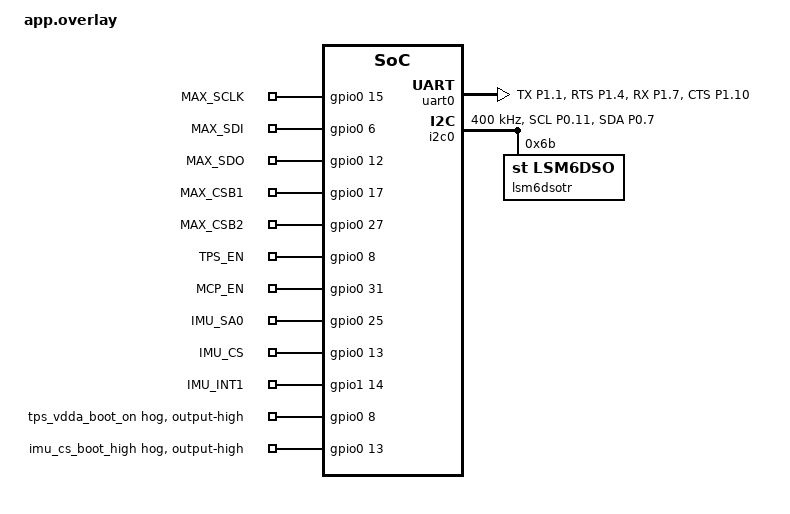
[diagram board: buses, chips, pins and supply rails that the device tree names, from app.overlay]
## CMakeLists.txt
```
#
# Copyright (c) 2018 Nordic Semiconductor
#
# SPDX-License-Identifier: LicenseRef-Nordic-5-Clause
#
cmake_minimum_required(VERSION 3.20.0)

find_package(Zephyr REQUIRED HINTS $ENV{ZEPHYR_BASE})
project(peripheral_uart_test)

# NORDIC SDK APP START
target_sources(app PRIVATE
  src/main.c
  src/lsmd.c
  src/max86140_spi.c
)

# NORDIC SDK APP END
```

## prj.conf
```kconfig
#
# Copyright (c) 2018 Nordic Semiconductor
#
# SPDX-License-Identifier: LicenseRef-Nordic-5-Clause
#

# Enable the UART driver
CONFIG_UART_ASYNC_API=y
CONFIG_SERIAL=y

CONFIG_GPIO=y

# Make sure printk is printing to the UART console
CONFIG_CONSOLE=y
CONFIG_UART_CONSOLE=y

CONFIG_HEAP_MEM_POOL_SIZE=2048

CONFIG_BT=y
CONFIG_BT_PERIPHERAL=y
CONFIG_BT_DEVICE_NAME="PPG_DK_2026A"
CONFIG_BT_MAX_CONN=1
CONFIG_BT_MAX_PAIRED=1

# Enable the NUS service
CONFIG_BT_NUS=y

# BT settings disabled — random BT address each boot, no NVS hang
CONFIG_BT_SETTINGS=n
CONFIG_SETTINGS=n
CONFIG_NVS=n
CONFIG_FLASH=y
CONFIG_FLASH_PAGE_LAYOUT=y
CONFIG_FLASH_MAP=y

# Enable DK LED and Buttons library
CONFIG_DK_LIBRARY=y

CONFIG_SYSTEM_WORKQUEUE_STACK_SIZE=2048

# Config logger — immediate mode so RTT output is never lost on crash
CONFIG_LOG=y
CONFIG_USE_SEGGER_RTT=y
CONFIG_LOG_BACKEND_RTT=y
CONFIG_LOG_BACKEND_UART=n
CONFIG_LOG_PRINTK=n
CONFIG_LOG_MODE_IMMEDIATE=y
CONFIG_SEGGER_RTT_BUFFER_SIZE_UP=8192

CONFIG_ASSERT=y
CONFIG_FAULT_DUMP=2
# Halt on fatal error instead of resetting — lets RTT capture the fault dump.
# Without this, crashes cause instant reboot and RTT output is lost.
CONFIG_RESET_ON_FATAL_ERROR=n

# Proto2403 has no external QSPI NOR flash.  nRF52840DK defconfig enables it
# by default; on Proto2403 the QSPI pins (P0.17-P0.22) are wired to MAX86141
# SPI — the QSPI driver crashes the firmware before main() runs.
CONFIG_NORDIC_QSPI_NOR=n

# Use internal RC oscillator for LFCLK — avoids MPSL hang if LFXO takes
# too long to stabilize on cold boot.
#CONFIG_CLOCK_CONTROL_NRF_K32SRC_RC=y

# The ISP1807 has an integrated 32.768 kHz crystal. The internal RC is only
# ±250 ppm, and BLE allows ±500 ppm total across both ends — marginal, and it
# varies chip to chip. Suspected cause of boards that advertise but won't hold
# a connection.
# Previously: CONFIG_CLOCK_CONTROL_NRF_K32SRC_RC=y
CONFIG_CLOCK_CONTROL_NRF_K32SRC_XTAL=y

# ── LSM6DSOTR IMU (I2C) ───────────────────────────────────────────────────────
CONFIG_I2C=y
CONFIG_SENSOR=y
CONFIG_LSM6DSO=y
CONFIG_LSM6DSO_TRIGGER_NONE=y           # polling mode — drdy-gpios not wired on Proto2403
# ODR and FS set at runtime via sensor_attr_set() if needed
# Default after reset: ODR=104Hz, FS=±2g — both fine for motion artefact detection
```

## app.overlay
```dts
/*
 * Copyright (c) 2022 Nordic Semiconductor ASA
 *
 * SPDX-License-Identifier: LicenseRef-Nordic-5-Clause
 *
 * Proto2403 custom PCB overlay
 *
 * Current build target:
 *     nrf21540dk/nrf52840
 *
 * This overlay overrides the DK pin assignments with the actual
 * connections used on the Proto2403 PCB.
 */

#include <dt-bindings/pinctrl/nrf-pinctrl.h>


/* =========================================================================
 * PIN CONTROL
 * =========================================================================
 */

&pinctrl {

	/* ---------------------------------------------------------------------
	 * LSM6DSOTR I2C0
	 *
	 * Proto2403 schematic:
	 *
	 *   IMU1_SCL -> P0.11
	 *   IMU1_SDA -> P0.07
	 *
	 * ---------------------------------------------------------------------
	 */

	i2c0_default_alt: i2c0_default_alt {
		group1 {
			psels = <NRF_PSEL(TWIM_SCL, 0, 11)>,
				<NRF_PSEL(TWIM_SDA, 0, 7)>;

			bias-pull-up;
		};
	};

	i2c0_sleep_alt: i2c0_sleep_alt {
		group1 {
			psels = <NRF_PSEL(TWIM_SCL, 0, 11)>,
				<NRF_PSEL(TWIM_SDA, 0, 7)>;

			low-power-enable;
		};
	};


	/* ---------------------------------------------------------------------
	 * UART0 remapping
	 *
	 * Proto2403 communicates with the host using BLE NUS rather than a
	 * physical UART.
	 *
	 * The DK's default UART pins overlap pins used by Proto2403 hardware,
	 * so move UART0 onto otherwise-unused P1 pins.
	 *
	 * ---------------------------------------------------------------------
	 */

	uart0_default_alt: uart0_default_alt {
		group1 {
			psels = <NRF_PSEL(UART_TX,  1, 1)>,
				<NRF_PSEL(UART_RTS, 1, 4)>;
		};

		group2 {
			psels = <NRF_PSEL(UART_RX,  1, 7)>,
				<NRF_PSEL(UART_CTS, 1, 10)>;

			bias-pull-up;
		};
	};

	uart0_sleep_alt: uart0_sleep_alt {
		group1 {
			psels = <NRF_PSEL(UART_TX,  1, 1)>,
				<NRF_PSEL(UART_RTS, 1, 4)>;

			low-power-enable;
		};

		group2 {
			psels = <NRF_PSEL(UART_RX,  1, 7)>,
				<NRF_PSEL(UART_CTS, 1, 10)>;

			low-power-enable;
		};
	};
};


/* =========================================================================
 * UART0
 * =========================================================================
 */

&uart0 {
	pinctrl-0 = <&uart0_default_alt>;
	pinctrl-1 = <&uart0_sleep_alt>;
	pinctrl-names = "default", "sleep";
};


/* =========================================================================
 * GPIO0
 *
 * Remove DK-specific GPIO reservations that do not apply to Proto2403.
 *
 * Keep only P0.00-P0.01 reserved.
 *
 * Also use GPIO hogs to establish the IMU's required electrical state
 * before the Zephyr sensor driver attempts to probe it.
 * =========================================================================
 */

&gpio0 {

	gpio-reserved-ranges = <0 2>;


	/* ---------------------------------------------------------------------
	 * TPS7A0518 / VDDA enable
	 *
	 * Proto2403:
	 *
	 *   P0.08 -> TPS_EN
	 *            |
	 *            v
	 *        TPS7A0518
	 *            |
	 *            v
	 *           VDDA
	 *
	 * The LSM6DSOTR VDD/VDDIO are supplied from VDDA.
	 *
	 * This must be HIGH before the LSM6DSO Zephyr driver initializes.
	 * ---------------------------------------------------------------------
	 */

	tps_vdda_boot_hog {
		gpio-hog;
		gpios = <8 GPIO_ACTIVE_HIGH>;
		output-high;
		line-name = "tps_vdda_boot_on";
	};


	/* ---------------------------------------------------------------------
	 * LSM6DSOTR SDO/SA0
	 *
	 * Proto2403:
	 *
	 *   P0.25 -> IMU1_SDO -> LSM6DSOTR SDO/SA0
	 *
	 * SA0 LOW  -> I2C address 0x6A
	 * SA0 HIGH -> I2C address 0x6B
	 *
	 * Drive LOW before the sensor driver probes the device.
	 * ---------------------------------------------------------------------
	 */

	/* ---------------------------------------------------------------------
	 * LSM6DSOTR CS
	 *
	 * Proto2403:
	 *
	 *   P0.13 -> IMU1_CS -> LSM6DSOTR CS
	 *
	 * CS must be HIGH for I2C operation.
	 * ---------------------------------------------------------------------
	 */

	imu_cs_boot_hog {
		gpio-hog;
		gpios = <13 GPIO_ACTIVE_HIGH>;
		output-high;
		line-name = "imu_cs_boot_high";
	};
};


/* =========================================================================
 * I2C0 + LSM6DSOTR
 * =========================================================================
 */

&i2c0 {
	compatible = "nordic,nrf-twim";
	status = "okay";

	pinctrl-0 = <&i2c0_default_alt>;
	pinctrl-1 = <&i2c0_sleep_alt>;
	pinctrl-names = "default", "sleep";

	clock-frequency = <I2C_BITRATE_FAST>;


	lsm6dsotr: lsm6dsotr@6b {
        compatible = "st,lsm6dso";
        reg = <0x6b>;

        /*
        * Do not initialize the IMU during Zephyr boot.
        * Proto2403 powers VDDA later from main().
        */
        zephyr,deferred-init;
    };
};


/* =========================================================================
 * APPLICATION GPIO NODES
 *
 * Existing C code uses patterns such as:
 *
 *     GPIO_DT_SPEC_GET(DT_NODELABEL(max_sclk), gpios)
 *     GPIO_DT_SPEC_GET(DT_NODELABEL(tps_en), gpios)
 *     GPIO_DT_SPEC_GET(DT_NODELABEL(imu_sa0), gpios)
 *
 * Therefore these nodes need a binding that defines the "gpios" property.
 * Keeping the gpio-keys container allows the existing code to work.
 * =========================================================================
 */

/ {

	chosen {
		nordic,nus-uart = &uart0;
	};


	proto2403_pins {
		compatible = "gpio-keys";


		/* =============================================================
		 * MAX86141 software SPI
		 * =============================================================
		 */

		max_sclk: max_sclk {
			/*
			 * P0.15 -> MAX_SCLK
			 */
			gpios = <&gpio0 15 GPIO_ACTIVE_HIGH>;
			label = "MAX_SCLK";
		};

		max_sdi: max_sdi {
			/*
			 * P0.06 -> MAX_SDI / MOSI
			 */
			gpios = <&gpio0 6 GPIO_ACTIVE_HIGH>;
			label = "MAX_SDI";
		};

		max_sdo: max_sdo {
			/*
			 * P0.12 -> MAX_SDO / MISO
			 */
			gpios = <&gpio0 12 GPIO_ACTIVE_HIGH>;
			label = "MAX_SDO";
		};


		/* =============================================================
		 * MAX86141 chip selects
		 * =============================================================
		 */

		max_csb1: max_csb1 {
			/*
			 * P0.17 -> MAX_CSB1
			 */
			gpios = <&gpio0 17 GPIO_ACTIVE_HIGH>;
			label = "MAX_CSB1";
		};

		max_csb2: max_csb2 {
			/*
			 * P0.27 -> MAX_CSB2
			 */
			gpios = <&gpio0 27 GPIO_ACTIVE_HIGH>;
			label = "MAX_CSB2";
		};


		/* =============================================================
		 * POWER CONTROL
		 * =============================================================
		 */

		tps_en: tps_en {
			/*
			 * P0.08 -> TPS7A0518 EN
			 *
			 * Enables VDDA.
			 */
			gpios = <&gpio0 8 GPIO_ACTIVE_HIGH>;
			label = "TPS_EN";
		};

		mcp_en: mcp_en {
			/*
			 * P0.31 -> MCP16411 EN
			 *
			 * Controls VLED boost supply.
			 */
			gpios = <&gpio0 31 GPIO_ACTIVE_HIGH>;
			label = "MCP_EN";
		};


		/* =============================================================
		 * LSM6DSOTR CONTROL SIGNALS
		 * =============================================================
		 */

		imu_sa0: imu_sa0 {
			/*
			 * P0.25 -> IMU1_SDO -> SDO/SA0
			 *
			 * LOW = I2C address 0x6A
			 */
			gpios = <&gpio0 25 GPIO_ACTIVE_HIGH>;
			label = "IMU_SA0";
		};

		imu_cs: imu_cs {
			/*
			 * P0.13 -> IMU1_CS
			 *
			 * HIGH = I2C mode
			 */
			gpios = <&gpio0 13 GPIO_ACTIVE_HIGH>;
			label = "IMU_CS";
		};

		imu_int1: imu_int1 {
			/*
			 * P1.14 <- LSM6DSOTR INT1
			 *
			 * Not currently used.
			 *
			 * Reserved for future interrupt-based wake-up
			 * or data-ready handling.
			 */
			gpios = <&gpio1 14 GPIO_ACTIVE_HIGH>;
			label = "IMU_INT1";
		};
	};
};
```

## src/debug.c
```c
#include <zephyr/drivers/i2c.h>

#define LSM6DSO_WHO_AM_I_REG 0x0F

static void debug_imu_i2c(void)
{
    const struct device *i2c_dev =
        DEVICE_DT_GET(DT_NODELABEL(i2c0));

    uint8_t whoami = 0;
    int err;

    if (!device_is_ready(i2c_dev)) {
        LOG_ERR("I2C0 controller itself is not ready");
        return;
    }

    LOG_INF("I2C0 controller ready");

    /* Try address 0x6A */
    err = i2c_reg_read_byte(
        i2c_dev,
        0x6A,
        LSM6DSO_WHO_AM_I_REG,
        &whoami
    );

    if (err == 0) {
        LOG_INF("Device found at 0x6A, WHO_AM_I = 0x%02X", whoami);
    } else {
        LOG_ERR("No response at 0x6A (err %d)", err);
    }

    /* Try address 0x6B */
    whoami = 0;

    err = i2c_reg_read_byte(
        i2c_dev,
        0x6B,
        LSM6DSO_WHO_AM_I_REG,
        &whoami
    );

    if (err == 0) {
        LOG_INF("Device found at 0x6B, WHO_AM_I = 0x%02X", whoami);
    } else {
        LOG_ERR("No response at 0x6B (err %d)", err);
    }
}
```

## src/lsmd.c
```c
#include "lsmd.h"

#include <errno.h>

#include <zephyr/device.h>
#include <zephyr/devicetree.h>
#include <zephyr/drivers/gpio.h>
#include <zephyr/drivers/i2c.h>
#include <zephyr/logging/log.h>

LOG_MODULE_DECLARE(peripheral_uart, LOG_LEVEL_INF);

// The LSM6DSOTR IMU is on the I2C bus, and its address is determined by the SA0 pin. 
// The Zephyr device tree node for the sensor is labeled "lsm6dsotr", and we use that to get the device instance. 
// wonder if we could use the alias instead????
#define LSMD_NODE DT_NODELABEL(lsm6dsotr)

#define LSMD_TAP_CFG0_REG        0x56 // The TAP_CFG0 register is used to configure the tap detection and wake-up features of the LSM6DSOTR IMU. In this code, we are particularly interested in enabling the wake-up detection feature by setting the appropriate bits in this register.
#define LSMD_TAP_CFG2_REG        0x58 // The TAP_CFG2 register is used to configure the tap detection and wake-up features of the LSM6DSOTR IMU. In this code, we are particularly interested in enabling the wake-up detection feature by setting the appropriate bits in this register.
#define LSMD_WAKE_UP_SRC_REG     0x1B // The WAKE_UP_SRC register is used to indicate the source of the wake-up event.
#define LSMD_WAKE_UP_THS_REG     0x5B // The WAKE_UP_THS register is used to set the threshold for wake-up detection.
#define LSMD_WAKE_UP_DUR_REG     0x5C // The WAKE_UP_DUR register is used to set the duration for wake-up detection.
#define LSMD_MD1_CFG_REG         0x5E // The MD1_CFG register is used to configure the interrupt lines.

#define LSMD_WAKE_INT_ENABLE_BIT BIT(7) // The LSMD_WAKE_INT_ENABLE_BIT is used to enable the wake-up interrupt in the TAP_CFG2 register. When this bit is set, the IMU will generate an interrupt when a wake-up event is detected.
#define LSMD_WAKE_SLOPE_FDS_BIT  BIT(4) // The LSMD_WAKE_SLOPE_FDS_BIT is used to configure the slope filter for wake-up detection. This bit is set in the TAP_CFG0 register to enable the slope filter, which helps to reduce false wake-up events caused by noise or small movements.
#define LSMD_WAKE_ROUTE_INT1_BIT BIT(5) // The LSMD_WAKE_ROUTE_INT1_BIT is used to route the wake-up interrupt to INT1.

#define LSMD_WAKE_THRESHOLD_VAL  0x02 // The LSMD_WAKE_THRESHOLD_VAL is used to set the threshold for wake-up detection.
#define LSMD_WAKE_DURATION_VAL   BIT(5) // The LSMD_WAKE_DURATION_VAL is used to set the duration for wake-up detection.

/* Board-specific SA0(P0.22) control. Driving this LOW forces the IMU onto I2C address 0x6A
 * must happen before we ask Zephyr for the sensor device instance. */
static const struct gpio_dt_spec imu_sa0 =
	GPIO_DT_SPEC_GET(DT_NODELABEL(imu_sa0), gpios);
/* Wake-up register access is parked for now alongside the rest of the wake-up path.
static const struct i2c_dt_spec imu_i2c = I2C_DT_SPEC_GET(LSMD_NODE);
*/

// The Zephyr device instance for the LSM6DSOTR IMU. This is NULL until lsmd_init() is called and succeeds. */	
static const struct device *lsmd_dev;

/* Wake-up state is commented out for now so the IMU can be tested as accel/gyro only.
static bool wakeup_latched;// This boolean variable is used to track whether a wake-up event has been latched. It is set to true when a wake-up event is detected and remains true until the event is cleared. This prevents multiple wake-up events from being reported for the same motion burst.
*/

/* Convert Zephyr's fixed-point sensor_value into integer cm/s^2 so the BLE transport
 * can reuse the existing unsigned integer packet format. */
static int32_t sensor_value_to_cm_s2(const struct sensor_value *value)
{
	return value->val1 * 100 + value->val2 / 10000;
}

/* Zephyr reports gyroscope channels in rad/s. Convert that fixed-point form into
 * integer mrad/s so we can stream it over BLE without floating-point formatting. */
static int32_t sensor_value_to_mrad_s(const struct sensor_value *value)
{
	return value->val1 * 1000 + value->val2 / 1000;
}

/* Convert one fetched accel sample from Zephyr sensor_value triples into the integer
 * representation used by the application layer. */
void lsmd_accel_to_cm_s2(const struct lsmd_accel_sample *raw,
			 struct lsmd_accel_cm_s2 *sample)
{
	if (raw == NULL || sample == NULL) {
		return;
	}

	sample->x = sensor_value_to_cm_s2(&raw->x);
	sample->y = sensor_value_to_cm_s2(&raw->y);
	sample->z = sensor_value_to_cm_s2(&raw->z);
}

void lsmd_gyro_to_mrad_s(const struct lsmd_gyro_sample *raw,
			 struct lsmd_gyro_mrad_s *sample)
{
	if (raw == NULL || sample == NULL) {
		return;
	}

	sample->x = sensor_value_to_mrad_s(&raw->x);
	sample->y = sensor_value_to_mrad_s(&raw->y);
	sample->z = sensor_value_to_mrad_s(&raw->z);
}

// Return true if the IMU device instance is valid and ready to be used. 
// This is a simple check to see if lsmd_init() has been called and succeeded.
bool lsmd_is_ready(void)
{
	return lsmd_dev != NULL;
}

/* Wake-up detection uses direct register writes because the Zephyr LSM6DSO
 * wrapper does not expose a dedicated wake-up trigger API. We enable the
 * interrupt engine, select the slope filter, apply a modest threshold, and
 * route the wake-up event to INT1 even though we currently poll the status
 * register in firmware instead of attaching a GPIO interrupt handler. */
/*
static int lsmd_enable_wakeup_detect(void)
{
	int err;

	err = i2c_reg_update_byte_dt(&imu_i2c, LSMD_TAP_CFG0_REG,
				      LSMD_WAKE_SLOPE_FDS_BIT,
				      LSMD_WAKE_SLOPE_FDS_BIT);
	if (err) {
		return err;
	}

	err = i2c_reg_update_byte_dt(&imu_i2c, LSMD_TAP_CFG2_REG,
				      LSMD_WAKE_INT_ENABLE_BIT,
				      LSMD_WAKE_INT_ENABLE_BIT);
	if (err) {
		return err;
	}

	err = i2c_reg_write_byte_dt(&imu_i2c, LSMD_WAKE_UP_THS_REG,
				     LSMD_WAKE_THRESHOLD_VAL);
	if (err) {
		return err;
	}

	err = i2c_reg_write_byte_dt(&imu_i2c, LSMD_WAKE_UP_DUR_REG,
				     LSMD_WAKE_DURATION_VAL);
	if (err) {
		return err;
	}

	return i2c_reg_update_byte_dt(&imu_i2c, LSMD_MD1_CFG_REG,
				       LSMD_WAKE_ROUTE_INT1_BIT,
				       LSMD_WAKE_ROUTE_INT1_BIT);
}
*/

/* Bring up the IMU path for this board:
 * 1. Force SA0 low so the device responds at 0x6A.
 * 2. Resolve the devicetree sensor instance.
 * 3. Run the deferred Zephyr sensor initialization once power is up. */
int lsmd_init(void)
{
    int err;
    struct sensor_value odr;

    lsmd_dev = DEVICE_DT_GET(LSMD_NODE);

    err = device_init(lsmd_dev);
    if (err && err != -EALREADY) {
        LOG_ERR("Failed to initialize LSM6DSOTR driver (err %d)", err);
        lsmd_dev = NULL;
        return err;
    }

    if (!device_is_ready(lsmd_dev)) {
        LOG_ERR("LSM6DSOTR still not ready after device_init()");
        lsmd_dev = NULL;
        return -ENODEV;
    }

    /* Enable accelerometer and gyro at 26 Hz */
    odr.val1 = 26;
    odr.val2 = 0;

    err = sensor_attr_set(lsmd_dev,
                          SENSOR_CHAN_ACCEL_XYZ,
                          SENSOR_ATTR_SAMPLING_FREQUENCY,
                          &odr);
    if (err) {
        LOG_ERR("Failed to set accel ODR (err %d)", err);
        return err;
    }

    err = sensor_attr_set(lsmd_dev,
                          SENSOR_CHAN_GYRO_XYZ,
                          SENSOR_ATTR_SAMPLING_FREQUENCY,
                          &odr);
    if (err) {
        LOG_ERR("Failed to set gyro ODR (err %d)", err);
        return err;
    }

    LOG_INF("LSM6DSOTR ready at 0x6B -- accel/gyro @ 26 Hz");

    return 0;
}

/* Internal helper that fetches one fresh IMU sample, then optionally copies the
 * accel and gyro channels requested by the caller. This keeps accel+gyro reads
 * synchronized and avoids fetching the sensor twice in the main loop. */
static int lsmd_read_channels(struct lsmd_accel_sample *accel,
			      struct lsmd_gyro_sample *gyro)
{
	int err;

	if (accel == NULL && gyro == NULL) {
		return -EINVAL;
	}

	if (lsmd_dev == NULL) {
		return -ENODEV;
	}
	// Fetch one new sample from the sensor. This updates the internal state of the sensor driver with the latest readings.
	err = sensor_sample_fetch(lsmd_dev);
	if (err) {
		return err;
	}
	// If the caller requested accel data, read the X, Y, and Z channels into the provided struct.
	if (accel != NULL) {
		err = sensor_channel_get(lsmd_dev, SENSOR_CHAN_ACCEL_X, &accel->x);
		if (err) {
			return err;
		}

		err = sensor_channel_get(lsmd_dev, SENSOR_CHAN_ACCEL_Y, &accel->y);
		if (err) {
			return err;
		}

		err = sensor_channel_get(lsmd_dev, SENSOR_CHAN_ACCEL_Z, &accel->z);
		if (err) {
			return err;
		}
	}
	// If the caller requested gyro data, read the X, Y, and Z channels into the provided struct.
	if (gyro != NULL) {
		err = sensor_channel_get(lsmd_dev, SENSOR_CHAN_GYRO_X, &gyro->x);
		if (err) {
			return err;
		}

		err = sensor_channel_get(lsmd_dev, SENSOR_CHAN_GYRO_Y, &gyro->y);
		if (err) {
			return err;
		}

		err = sensor_channel_get(lsmd_dev, SENSOR_CHAN_GYRO_Z, &gyro->z);
		if (err) {
			return err;
		}
	}

	return 0;
}
// Fetch one new accel+gyro sample from the sensor and read X/Y/Z into two separate structs.
int lsmd_read_accel_gyro(struct lsmd_accel_sample *accel,
			 struct lsmd_gyro_sample *gyro)
{
	return lsmd_read_channels(accel, gyro);
}

/* Fetch one new accel sample from the sensor and read X/Y/Z into a single struct.
 */
int lsmd_read_accel(struct lsmd_accel_sample *sample)
{
	if (sample == NULL) {
		return -EINVAL;
	}

	return lsmd_read_channels(sample, NULL);
}

/* Convenience wrapper for callers that only care about the integer transport format.
 * It reuses lsmd_read_accel() so there is one place responsible for sensor reads. */
int lsmd_read_accel_cm_s2(struct lsmd_accel_cm_s2 *sample)
{
	int err;
	struct lsmd_accel_sample raw;

	if (sample == NULL) {
		return -EINVAL;
	}

	err = lsmd_read_accel(&raw);
	if (err) {
		return err;
	}

	lsmd_accel_to_cm_s2(&raw, sample);

	return 0;
}
// Fetch one new gyro sample from the sensor and read X/Y/Z into a single struct.
int lsmd_read_gyro(struct lsmd_gyro_sample *sample)
{
	if (sample == NULL) {
		return -EINVAL;
	}

	return lsmd_read_channels(NULL, sample);
}
// Convenience wrapper for callers that only care about the integer transport format.
int lsmd_read_gyro_mrad_s(struct lsmd_gyro_mrad_s *sample)
{
	int err;
	struct lsmd_gyro_sample raw;

	if (sample == NULL) {
		return -EINVAL;
	}

	err = lsmd_read_gyro(&raw);
	if (err) {
		return err;
	}

	lsmd_gyro_to_mrad_s(&raw, sample);

	return 0;
}

/* WAKE_UP_SRC exposes both the event flag and which axes crossed the threshold.
 * We return only the rising edge of wu_ia so the app sees one wake-up event per
 * motion burst instead of logging/transmitting the same event every loop. */
/*
int lsmd_poll_wakeup_event(struct lsmd_wakeup_event *event)
{
	int err;
	uint8_t src;// 8 bit variable to hold the value read from the WAKE_UP_SRC register of the LSM6DSOTR IMU. This register contains information about the wake-up event, including which axes triggered the event and whether a wake-up event is currently active.
	bool active;

	if (event == NULL) {// Check if the event pointer is NULL. If it is, return -EINVAL to indicate an invalid argument.
		return -EINVAL;
	}

	if (lsmd_dev == NULL) {
		return -ENODEV;
	}

	// Read the WAKE_UP_SRC register from the IMU over I2C. This register contains information about the wake-up event, including which axes triggered the event.
	// the i2c_reg_read_byte_dt() function reads a single byte from the specified register of the I2C device. If the read operation fails, it returns an error code.
	// the function is defined in the Zephyr I2C driver API and is used to communicate with I2C devices in a convenient way.
	// If the read operation is successful, the value of the WAKE_UP_SRC register is stored in the variable src.
	err = i2c_reg_read_byte_dt(&imu_i2c, LSMD_WAKE_UP_SRC_REG, &src);
	if (err) {
		return err;
	}

	active = (src & BIT(3)) != 0;// Check if the wake-up event is active by examining the 4th bit (BIT(3))-WU_IA- of the src variable. If this bit is set, it indicates that a wake-up event has occurred.
	
	// return true only on the rising edge of the wake-up event, so we don't report the same event multiple times during a single motion burst.
	event->active = active && !wakeup_latched;
	
	event->x = (src & BIT(2)) != 0;// Check if the X-axis triggered the wake-up event by examining the 3rd bit (BIT(2)) of the src variable. If this bit is set, it indicates that the X-axis crossed the threshold for wake-up detection.
	event->y = (src & BIT(1)) != 0;// Check if the Y-axis triggered the wake-up event by examining the 2nd bit (BIT(1)) of the src variable. If this bit is set, it indicates that the Y-axis crossed the threshold for wake-up detection.
	event->z = (src & BIT(0)) != 0;// Check if the Z-axis triggered the wake-up event by examining the 1st bit (BIT(0)) of the src variable. If this bit is set, it indicates that the Z-axis crossed the threshold for wake-up detection.

	wakeup_latched = active;// Update the wakeup_latched variable to reflect the current state of the wake-up event. If a wake-up event is active, this variable is set to true, preventing multiple wake-up events from being reported for the same motion burst.
	return 0;
}
*/
```

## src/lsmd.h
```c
#ifndef LSMD_H_
#define LSMD_H_

#include <stdbool.h>
#include <stdint.h>

#include <zephyr/drivers/sensor.h>

// this header file defines the interface for interacting with the LSM6DSOTR IMU sensor, 
// including data structures for accelerometer samples and function prototypes for 
// initializing the sensor, checking its readiness, reading raw acceleration data, 
// and converting that data into a specific format (cm/s²) for further processing or transmission.

struct lsmd_accel_sample {
	struct sensor_value x;
	struct sensor_value y;
	struct sensor_value z;
};

struct lsmd_accel_cm_s2 {
	int32_t x;
	int32_t y;
	int32_t z;
};

struct lsmd_gyro_sample {
	struct sensor_value x;
	struct sensor_value y;
	struct sensor_value z;
};

struct lsmd_gyro_mrad_s {
	int32_t x;
	int32_t y;
	int32_t z;
};

/* this struct stores information about a wake-up event detected by the LSM6DSOTR IMU.
 * It is kept here for future use, but the wake-up path is currently commented out
 * so accel/gyro can be tested in isolation. */
struct lsmd_wakeup_event {
	bool active;
	bool x;
	bool y;
	bool z;
};


int lsmd_init(void);
bool lsmd_is_ready(void);
int lsmd_read_accel_gyro(struct lsmd_accel_sample *accel,
			 struct lsmd_gyro_sample *gyro);
int lsmd_read_accel(struct lsmd_accel_sample *sample);// function to read the raw acceleration data from the LSM6DSOTR IMU and populate the lsmd_accel_sample struct with the values
int lsmd_read_accel_cm_s2(struct lsmd_accel_cm_s2 *sample);// function to read the acceleration data from the LSM6DSOTR IMU and populate the lsmd_accel_cm_s2 struct with the values in cm/s²
void lsmd_accel_to_cm_s2(const struct lsmd_accel_sample *raw,
				 struct lsmd_accel_cm_s2 *sample);// function to convert the raw acceleration data from the lsmd_accel_sample struct to the lsmd_accel_cm_s2 struct in cm/s²
int lsmd_read_gyro(struct lsmd_gyro_sample *sample);
int lsmd_read_gyro_mrad_s(struct lsmd_gyro_mrad_s *sample);
void lsmd_gyro_to_mrad_s(const struct lsmd_gyro_sample *raw,
			 struct lsmd_gyro_mrad_s *sample);
/* Wake-up polling is disabled for now while we test accel/gyro only.
 * int lsmd_poll_wakeup_event(struct lsmd_wakeup_event *event);
 */

#endif /* LSMD_H_ */
```

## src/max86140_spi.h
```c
// Software SPI implementation for MAX86140 sensor
// Anhang Li (anhangli@umich.edu)
// December 2025
//
// Updated July 2026 — Rutendo Jakachira (rutendo_jakachira@brown.edu):
// - Configured U10 ADC range (8192nA), integration time (58.7µs), LED drive currents and 6-slot sequencer  [Rutendo Jakachira, rutendo_jakachira@brown.edu]
// - Configured U2 LED drive currents and 3-slot mux sequencer for MAX4783 dual-package routing             [Rutendo Jakachira, rutendo_jakachira@brown.edu]

#ifndef _MAX86140_SPI_H_
#define _MAX86140_SPI_H_

#include <stdint.h>

// Software SPI — U10 (CSB1)
void      max86140_spi_init (void);
uint8_t   max86140_spi_read (uint8_t reg_addr);
void      max86140_spi_write(uint8_t reg_addr, uint8_t data);
uint32_t* max86140_spi_read_burst (uint32_t* databuf, uint8_t reg_addr, uint8_t length);
void      max86140_init (void);
uint32_t* max86140_device_data_read(uint32_t* dataBuf);
uint32_t  max86140_read_fifo_sample24(void);
void      max86140_single_sample_poll_and_store(void);
uint8_t   max86140_get_part_id(void);
uint8_t   max86140_read_part_id(void);
uint8_t   max86140_check_full(void);
uint8_t   max86140_get_fifo_data_count(void);
uint32_t* max86140_exhaust_fifo(uint32_t* dataBuf, uint8_t* sample_count_ptr);
void      max86140_log_tag_histogram(const uint32_t *buf, uint8_t count);

// U2 (CSB2) — secondary MAX86141 with MAX4783 mux control
void      max86141_u2_init(void);
uint32_t* max86141_u2_exhaust_fifo(uint32_t* dataBuf, uint8_t* sample_count_ptr);

#endif // _MAX86140_SPI_H_
```
